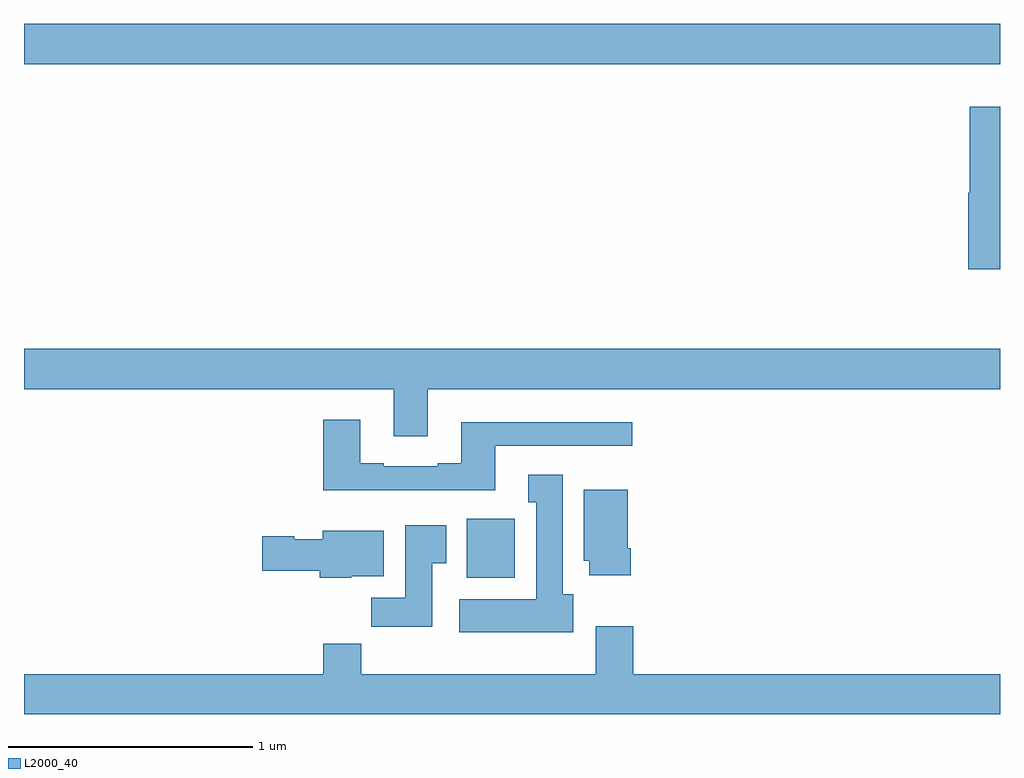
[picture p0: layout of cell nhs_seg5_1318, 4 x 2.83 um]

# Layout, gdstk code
import gdstk
lib = gdstk.Library(unit=1e-6, precision=1e-09)
def R(c, l, rs):  # rectangles x0, y0, x1, y1
    for r in rs: c.add(gdstk.rectangle(r[:2], r[2:], *l))
def P(c, l, *ps):  # polygons
    for p in ps: c.add(gdstk.Polygon(p, *l))
L2000_40 = (2000, 40)

nhs_seg5_1318 = lib.new_cell('nhs_seg5_1318')
R(nhs_seg5_1318, L2000_40, [(192.815,867.974,193.012,868.216), (191,870.08,195,870.244)])
P(nhs_seg5_1318, L2000_40, [(195,869.905),(194.876,869.905),(194.876,869.553),(194.87,869.553),(194.87,869.238),(195,869.238)],
  [(191,868.748),(192.515,868.748),(192.515,868.554),(192.655,868.554),(192.655,868.748),(195,868.748),(195,868.912),(191,868.912)],
  [(192.931,868.515),(193.492,868.515),(193.492,868.612),(192.791,868.612),(192.791,868.444),(192.695,868.444),(192.695,868.431),(192.475,868.431),(192.475,868.444),(192.379,868.444),(192.379,868.621),(192.227,868.621),(192.227,868.334),(192.931,868.334)],
  [(193.252,867.906),(193.207,867.906),(193.207,868.396),(193.067,868.396),(193.067,868.283),(193.1,868.283),(193.1,867.886),(192.783,867.886),(192.783,867.752),(193.252,867.752)],
  [(193.487,868.096),(193.474,868.096),(193.474,868.336),(193.295,868.336),(193.295,868.044),(193.316,868.044),(193.316,867.984),(193.487,867.984)],
  [(192.673,868.033),(192.73,868.033),(192.73,868.189),(192.563,868.189),(192.563,867.892),(192.424,867.892),(192.424,867.774),(192.673,867.774)],
  [(192.342,867.98),(192.475,867.98),(192.475,868.168),(192.224,868.168),(192.224,868.132),(192.108,868.132),(192.108,868.145),(191.976,868.145),(191.976,868.003),(192.212,868.003),(192.212,867.974),(192.342,867.974)],
  [(195,867.58),(193.496,867.58),(193.496,867.775),(193.343,867.775),(193.343,867.58),(192.383,867.58),(192.383,867.704),(192.227,867.704),(192.227,867.58),(191,867.58),(191,867.416),(195,867.416)])

lib.write_gds('nhs_seg5_1318.gds')
